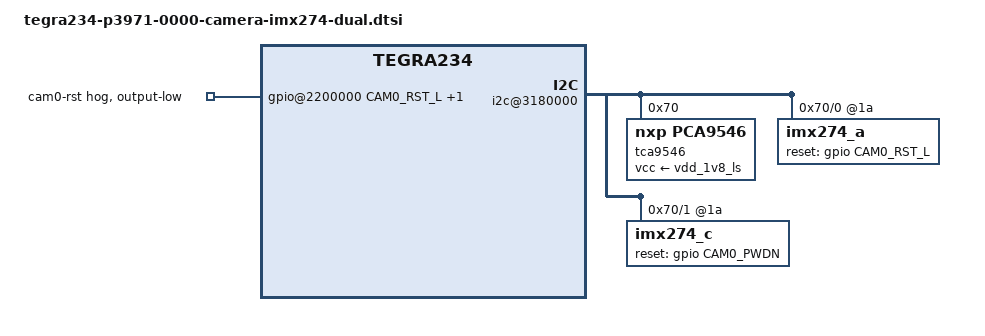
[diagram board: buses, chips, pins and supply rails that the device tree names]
// SPDX-License-Identifier: GPL-2.0-only
// SPDX-FileCopyrightText: Copyright (c) 2017-2024, NVIDIA CORPORATION & AFFILIATES. All rights reserved.

#include <dt-bindings/clock/tegra234-clock.h>
#include <dt-bindings/gpio/tegra234-gpio.h>
#include "tegra234-camera-imx274-dual.dtsi"

#define CAM0_RST_L	TEGRA234_MAIN_GPIO(H, 3)
#define CAM0_PWDN	TEGRA234_MAIN_GPIO(E, 6)

/* camera control gpio definitions */
/ {
	fragment-camera-dual-imx274@0 {
		target-path = "/bus@0";
		__overlay__ {
			gpio@2200000 {
				camera-control-output-low {
					gpio-hog;
					output-low;
					gpios = <CAM0_RST_L GPIO_ACTIVE_HIGH CAM0_PWDN GPIO_ACTIVE_HIGH>;
					label = "cam0-rst", "cam0-pwdn";
				};
			};
			i2c@3180000 {
				tca9546@70 {
					compatible = "nxp,pca9546";
					reg = <0x70>;
					#address-cells = <1>;
					#size-cells = <0>;
					skip_mux_detect = "yes";
					vcc-supply = <&vdd_1v8_ls>;
					i2c@0 {
						reg = <0>;
						i2c-mux,deselect-on-exit;
						#address-cells = <1>;
						#size-cells = <0>;
						imx274_a@1a {
							/* Define any required hw resources needed by driver */
							/* ie. clocks, io pins, power sources */
							clocks = <&bpmp TEGRA234_CLK_EXTPERIPH1>,
									<&bpmp TEGRA234_CLK_EXTPERIPH1>;
							clock-names = "extperiph1", "pllp_grtba";
							mclk = "extperiph1";
							reset-gpios = <&gpio CAM0_RST_L GPIO_ACTIVE_HIGH>;
						};
					};
					i2c@1 {
						reg = <1>;
						i2c-mux,deselect-on-exit;
						#address-cells = <1>;
						#size-cells = <0>;
						imx274_c@1a {
							/* Define any required hw resources needed by driver */
							/* ie. clocks, io pins, power sources */
							clocks = <&bpmp TEGRA234_CLK_EXTPERIPH1>,
									<&bpmp TEGRA234_CLK_EXTPERIPH1>;
							clock-names = "extperiph1", "pllp_grtba";
							mclk = "extperiph1";
							reset-gpios = <&gpio CAM0_PWDN GPIO_ACTIVE_HIGH>;
						};
					};
				};
			};
		};
	};
};
